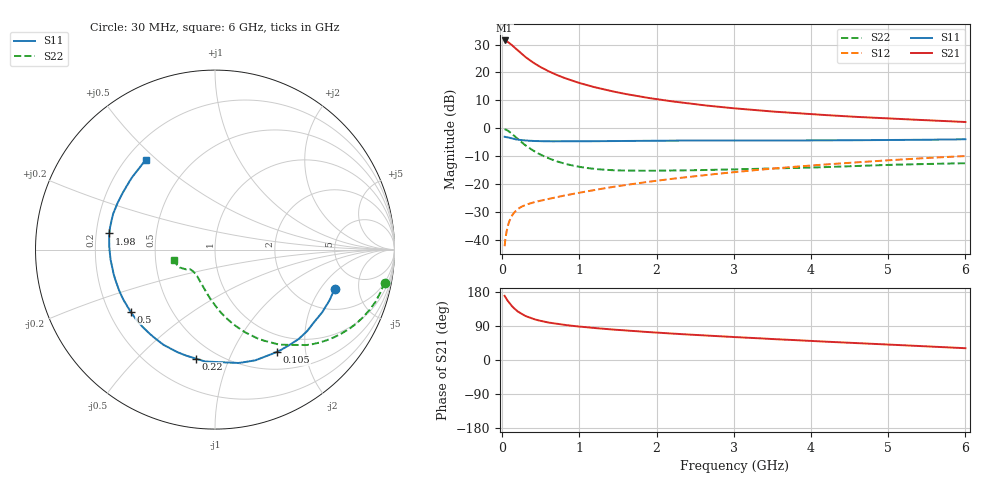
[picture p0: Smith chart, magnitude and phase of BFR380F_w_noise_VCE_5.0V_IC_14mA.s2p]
! Infineon Technologies  Discrete & RF Semiconductors
! BFR380F
! VCE =  5.0 V,  IC =  14 mA
! Common Emitter S-Parameters:  Nov 2015
# GHz  S  MA  R  50
!  f  S11  S21  S12  S22
! GHz  MAG  ANG  MAG  ANG  MAG  ANG  MAG  ANG
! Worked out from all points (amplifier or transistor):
!   206 points, 30 MHz to 6 GHz, reference 50 ohm
!   highest |S21| = 31.5 dB at 30 MHz (marker M1)
!   |S21| within 3 dB of that: start of sweep to 176.8 MHz
!   unconditionally stable (mu >= 1): 1.58 GHz to 5.038 GHz
!   at 200 MHz: K = 0.29, MSG = 28.5 dB, |S12| = -29.1 dB
!   at 1.56 GHz: K = 1.00, MSG = 16.5 dB, |S12| = -20.6 dB
!   at 6 GHz: K = 0.98, MSG = 6.1 dB, |S12| = -10.0 dB
!   lowest NFmin = 0.94 dB at 900 MHz
!   S11 on the Smith chart (normalised r, x): 30 MHz: 3.22, -2.75; 105 MHz: 0.74, -1.51; 220 MHz: 0.39, -0.76; 500 MHz: 0.29, -0.30; 1.98 GHz: 0.25, +0.07; 6 GHz: 0.28, +0.46
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0.03  0.7018 -18.0  37.62 169.4  0.0076 81.4  0.9636 -11.0
0.05  0.692 -30.3  36.9 162.4  0.0127 76.3  0.9405 -18.0
0.07  0.6853 -41.5  35.51 156.3  0.0171 72.1  0.9063 -24.6
0.105  0.6653 -58.8  32.63 147.0  0.0235 65.1  0.8342 -35.0
0.12  0.6578 -65.8  31.32 143.3  0.0261 62.7  0.802 -39.0
0.15  0.645 -78.3  28.83 136.8  0.0301 58.4  0.7379 -46.1
0.2  0.626 -95.0  24.88 128.0  0.0352 53.2  0.6399 -55.9
0.22  0.6166 -100.1  23.55 125.6  0.0367 51.9  0.6062 -58.7
0.26  0.6085 -110.0  21.11 120.5  0.0395 49.7  0.5451 -64.7
0.3  0.6034 -118.4  18.99 116.1  0.0417 48.3  0.4923 -69.8
0.34  0.5957 -124.9  17.25 112.9  0.0436 47.5  0.4495 -73.9
0.4  0.59 -133.3  15.08 108.4  0.0463 47.0  0.3965 -79.5
0.5  0.584 -143.7  12.41 103.0  0.0501 47.3  0.3318 -87.2
0.7  0.5808 -157.1  9.107 95.6  0.0575 49.7  0.2552 -99.0
1.04  0.5816 -170.2  6.245 87.3  0.0711 54.4  0.1979 -113.8
1.4  0.587 -179.1  4.673 80.9  0.0865 58.0  0.1767 -125.4
1.98  0.5963 171.3  3.349 72.6  0.113 61.3  0.1723 -135.9
2.02  0.5967 170.7  3.287 72.1  0.1148 61.5  0.1725 -136.3
3.1  0.6009 158.3  2.219 59.6  0.1672 62.7  0.1833 -143.9
4.1  0.6039 147.7  1.749 49.3  0.2185 60.9  0.1981 -146.5
5.1  0.6138 137.8  1.473 39.8  0.2701 57.8  0.2211 -154.0
6  0.6321 127.5  1.291 31.1  0.316 53.6  0.2349 -165.9
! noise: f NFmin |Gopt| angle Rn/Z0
0.45  0.96  0.12  161  0.08
0.9  0.94  0.2  154  0.08
1.8  1.18  0.33  176  0.07
1.9  1.26  0.34  176  0.07
2.4  1.38  0.37  -171  0.08
3.5  1.98  0.48  -157  0.11
